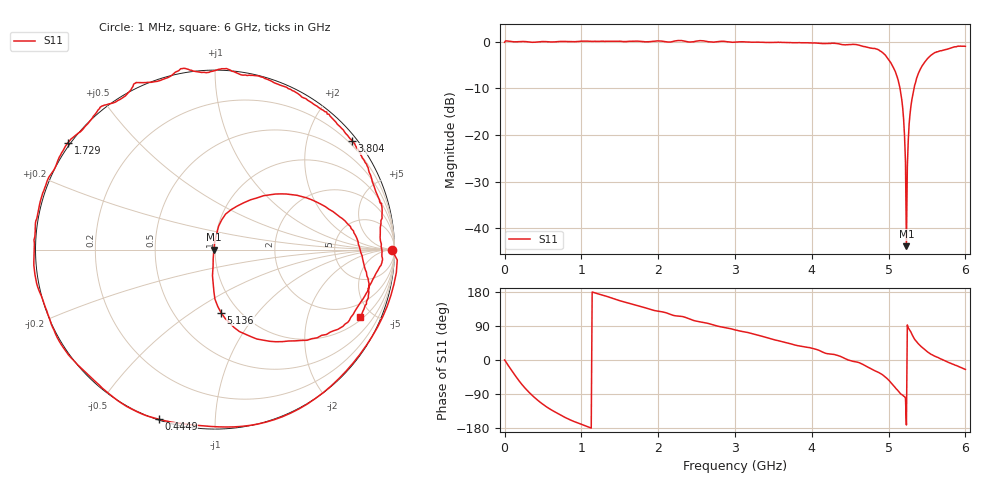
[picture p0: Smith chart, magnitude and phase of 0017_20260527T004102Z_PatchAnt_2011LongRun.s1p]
# Hz S RI R 50
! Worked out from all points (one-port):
!   501 points, 1 MHz to 6 GHz, reference 50 ohm
!   lowest |S11| = -43.8 dB at 5.232 GHz (marker M1), VSWR 1.01, Z = 49.4 - j0.0933 ohm
!   |S11| at or under -10 dB: 5.149 GHz to 5.332 GHz (183 MHz wide, 3.49 % of centre)
!   S11 on the Smith chart (normalised r, x): 1 MHz: open; 444.9 MHz: 0.00, -0.72; 1.729 GHz: -0.01, +0.33; 3.804 GHz: 0.12, +2.87; 5.136 GHz: 0.83, -0.66; 6 GHz: 1.17, -4.23
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1000000  0.9849 1.12e-05
8.4986e7  0.9064 -0.4307
2.16964e8  0.4684 -0.8873
3.0095e8  0.146 -0.9851
4.44926e8  -0.3146 -0.9448
7.56874e8  -0.856 -0.5301
1.068822e9  -1.009 -0.0889
1.50075e9  -0.9257 0.4037
1.728712e9  -0.8194 0.5959
2.256624e9  -0.4509 0.9238
3.0005e9  0.1785 0.9701
3.756374e9  0.7378 0.6373
3.804366e9  0.7642 0.6053
4.308282e9  0.9306 0.2252
4.50025e9  0.9299 -0.0225
4.872188e9  0.6839 -0.4447
5.028162e9  0.3061 -0.5111
5.136144e9  0.0337 -0.3513
5.184136e9  -0.00955 -0.1935
5.196134e9  -0.014 -0.1451
5.208132e9  -0.0109 -0.0953
5.232128e9  -0.00636 -0.000945
5.256124e9  0.00843 0.0867
5.268122e9  0.0203 0.1313
5.292118e9  0.0594 0.1984
5.412098e9  0.3988 0.3097
5.628062e9  0.7717 0.1036
6e9  0.8077 -0.374
